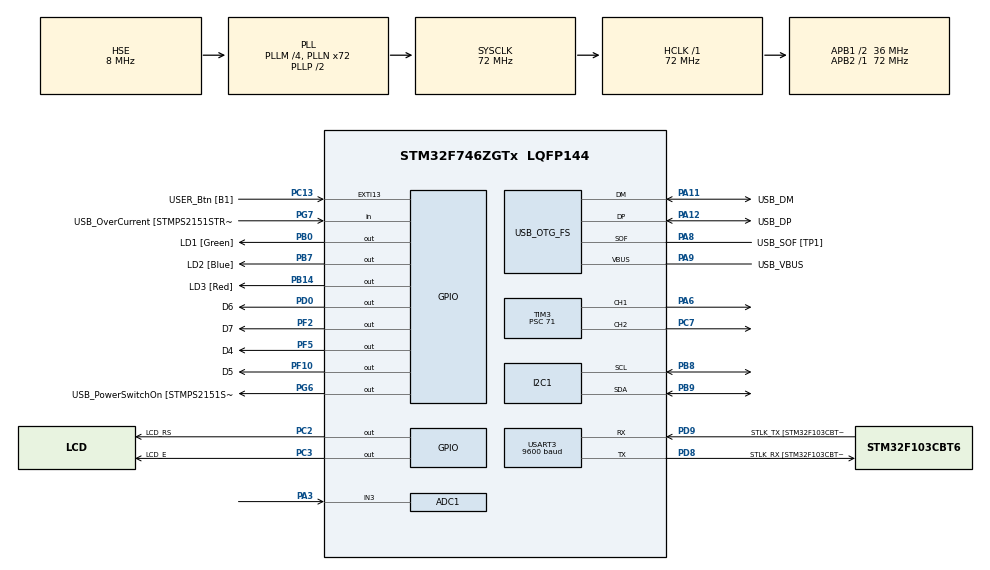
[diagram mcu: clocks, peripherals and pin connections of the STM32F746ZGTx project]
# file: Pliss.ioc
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ADC1.Channel-0\#ChannelRegularConversion=ADC_CHANNEL_3
ADC1.Channel-1\#ChannelRegularConversion=ADC_CHANNEL_3
ADC1.Channel-10\#ChannelRegularConversion=ADC_CHANNEL_3
ADC1.Channel-11\#ChannelRegularConversion=ADC_CHANNEL_3
ADC1.Channel-12\#ChannelRegularConversion=ADC_CHANNEL_3
ADC1.Channel-13\#ChannelRegularConversion=ADC_CHANNEL_3
ADC1.Channel-14\#ChannelRegularConversion=ADC_CHANNEL_3
ADC1.Channel-15\#ChannelRegularConversion=ADC_CHANNEL_3
ADC1.Channel-2\#ChannelRegularConversion=ADC_CHANNEL_3
ADC1.Channel-3\#ChannelRegularConversion=ADC_CHANNEL_3
ADC1.Channel-4\#ChannelRegularConversion=ADC_CHANNEL_3
ADC1.Channel-5\#ChannelRegularConversion=ADC_CHANNEL_3
ADC1.Channel-6\#ChannelRegularConversion=ADC_CHANNEL_3
ADC1.Channel-7\#ChannelRegularConversion=ADC_CHANNEL_3
ADC1.Channel-8\#ChannelRegularConversion=ADC_CHANNEL_3
ADC1.Channel-9\#ChannelRegularConversion=ADC_CHANNEL_3
ADC1.ContinuousConvMode=ENABLE
ADC1.NbrOfConversion=16
ADC1.NbrOfConversionFlag=1
ADC1.Rank-0\#ChannelRegularConversion=1
ADC1.Rank-1\#ChannelRegularConversion=2
ADC1.Rank-10\#ChannelRegularConversion=11
ADC1.Rank-11\#ChannelRegularConversion=12
ADC1.Rank-12\#ChannelRegularConversion=13
ADC1.Rank-13\#ChannelRegularConversion=14
ADC1.Rank-14\#ChannelRegularConversion=15
ADC1.Rank-15\#ChannelRegularConversion=16
ADC1.Rank-2\#ChannelRegularConversion=3
ADC1.Rank-3\#ChannelRegularConversion=4
ADC1.Rank-4\#ChannelRegularConversion=5
ADC1.Rank-5\#ChannelRegularConversion=6
ADC1.Rank-6\#ChannelRegularConversion=7
ADC1.Rank-7\#ChannelRegularConversion=8
ADC1.Rank-8\#ChannelRegularConversion=9
ADC1.Rank-9\#ChannelRegularConversion=10
ADC1.SamplingTime-0\#ChannelRegularConversion=ADC_SAMPLETIME_3CYCLES
ADC1.SamplingTime-1\#ChannelRegularConversion=ADC_SAMPLETIME_3CYCLES
ADC1.SamplingTime-10\#ChannelRegularConversion=ADC_SAMPLETIME_3CYCLES
ADC1.SamplingTime-11\#ChannelRegularConversion=ADC_SAMPLETIME_3CYCLES
ADC1.SamplingTime-12\#ChannelRegularConversion=ADC_SAMPLETIME_3CYCLES
ADC1.SamplingTime-13\#ChannelRegularConversion=ADC_SAMPLETIME_3CYCLES
ADC1.SamplingTime-14\#ChannelRegularConversion=ADC_SAMPLETIME_3CYCLES
ADC1.SamplingTime-15\#ChannelRegularConversion=ADC_SAMPLETIME_3CYCLES
ADC1.SamplingTime-2\#ChannelRegularConversion=ADC_SAMPLETIME_3CYCLES
ADC1.SamplingTime-3\#ChannelRegularConversion=ADC_SAMPLETIME_3CYCLES
ADC1.SamplingTime-4\#ChannelRegularConversion=ADC_SAMPLETIME_3CYCLES
ADC1.SamplingTime-5\#ChannelRegularConversion=ADC_SAMPLETIME_3CYCLES
ADC1.SamplingTime-6\#ChannelRegularConversion=ADC_SAMPLETIME_3CYCLES
ADC1.SamplingTime-7\#ChannelRegularConversion=ADC_SAMPLETIME_3CYCLES
ADC1.SamplingTime-8\#ChannelRegularConversion=ADC_SAMPLETIME_3CYCLES
ADC1.SamplingTime-9\#ChannelRegularConversion=ADC_SAMPLETIME_3CYCLES
ADC1.ScanConvMode=ADC_SCAN_ENABLE
ADC1.master=1
I2C1.Timing=0x00808CD2
Mcu.Family=STM32F7
Mcu.Name=STM32F746ZGTx
Mcu.Package=LQFP144
NVIC.ADC_IRQn=true\:0\:0\:false\:false\:true\:true\:true
NVIC.PriorityGroup=NVIC_PRIORITYGROUP_4
NVIC.TIM1_UP_TIM10_IRQn=true\:0\:0\:false\:false\:true\:true\:true
NVIC.TIM6_DAC_IRQn=true\:0\:0\:false\:false\:true\:true\:true
NVIC.USART3_IRQn=true\:0\:0\:false\:false\:true\:true\:true
PA1.GPIO_Label=RMII_REF_CLK [LAN8742A-CZ-TR_REFCLK0]
PA1.Signal=ETH_REF_CLK
PA10.GPIO_Label=USB_ID
PA10.Signal=USB_OTG_FS_ID
PA11.GPIO_Label=USB_DM
PA11.Mode=Device_Only
PA11.Signal=USB_OTG_FS_DM
PA12.GPIO_Label=USB_DP
PA12.Mode=Device_Only
PA12.Signal=USB_OTG_FS_DP
PA13.GPIO_Label=TMS
PA13.Mode=Serial_Wire
PA13.Signal=SYS_JTMS-SWDIO
PA14.GPIO_Label=TCK
PA14.Mode=Serial_Wire
PA14.Signal=SYS_JTCK-SWCLK
PA2.GPIO_Label=RMII_MDIO [LAN8742A-CZ-TR_MDIO]
PA2.Signal=ETH_MDIO
PA3.Signal=ADCx_IN3
PA6.Signal=S_TIM3_CH1
PA7.GPIO_Label=RMII_CRS_DV [LAN8742A-CZ-TR_CRS_DV]
PA7.Signal=ETH_CRS_DV
PA8.GPIO_Label=USB_SOF [TP1]
PA8.Mode=Activate_SOF_FS
PA8.Signal=USB_OTG_FS_SOF
PA9.GPIO_Label=USB_VBUS
PA9.Mode=Activate_VBUS
PA9.Signal=USB_OTG_FS_VBUS
PB0.GPIO_Label=LD1 [Green]
PB0.Signal=GPIO_Output
PB13.GPIO_Label=RMII_TXD1 [LAN8742A-CZ-TR_TXD1]
PB13.Signal=ETH_TXD1
PB14.GPIO_Label=LD3 [Red]
PB14.Signal=GPIO_Output
PB3.GPIO_Label=SW0
PB3.Signal=SYS_JTDO-SWO
PB7.GPIO_Label=LD2 [Blue]
PB7.Signal=GPIO_Output
PB8.Mode=I2C
PB8.Signal=I2C1_SCL
PB9.Mode=I2C
PB9.Signal=I2C1_SDA
PC1.GPIO_Label=RMII_MDC [LAN8742A-CZ-TR_MDC]
PC1.Signal=ETH_MDC
PC13.GPIO_Label=USER_Btn [B1]
PC13.Signal=GPXTI13
PC14/OSC32_IN.Mode=LSE-External-Oscillator
PC14/OSC32_IN.Signal=RCC_OSC32_IN
PC15/OSC32_OUT.Mode=LSE-External-Oscillator
PC15/OSC32_OUT.Signal=RCC_OSC32_OUT
PC2.GPIO_Label=LCD_RS
PC2.Signal=GPIO_Output
PC3.GPIO_Label=LCD_E
PC3.Signal=GPIO_Output
PC4.GPIO_Label=RMII_RXD0 [LAN8742A-CZ-TR_RXD0]
PC4.Signal=ETH_RXD0
PC5.GPIO_Label=RMII_RXD1 [LAN8742A-CZ-TR_RXD1]
PC5.Signal=ETH_RXD1
PC7.Signal=S_TIM3_CH2
PD0.GPIO_Label=D6
PD0.Signal=GPIO_Output
PD8.GPIO_Label=STLK_RX [STM32F103CBT6_PA3]
PD8.Mode=Asynchronous
PD8.Signal=USART3_TX
PD9.GPIO_Label=STLK_TX [STM32F103CBT6_PA2]
PD9.Mode=Asynchronous
PD9.Signal=USART3_RX
PF10.GPIO_Label=D5
PF10.Signal=GPIO_Output
PF2.GPIO_Label=D7
PF2.Signal=GPIO_Output
PF5.GPIO_Label=D4
PF5.Signal=GPIO_Output
PG11.GPIO_Label=RMII_TX_EN [LAN8742A-CZ-TR_TXEN]
PG11.Signal=ETH_TX_EN
PG13.GPIO_Label=RMII_TXD0 [LAN8742A-CZ-TR_TXD0]
PG13.Signal=ETH_TXD0
PG6.GPIO_Label=USB_PowerSwitchOn [STMPS2151STR_EN]
PG6.Signal=GPIO_Output
PG7.GPIO_Label=USB_OverCurrent [STMPS2151STR_FAULT]
PG7.Signal=GPIO_Input
PH0/OSC_IN.GPIO_Label=MCO [STM32F103CBT6_PA8]
PH0/OSC_IN.Mode=HSE-External-Clock-Source
PH0/OSC_IN.Signal=RCC_OSC_IN
PH1/OSC_OUT.Mode=HSE-External-Clock-Source
PH1/OSC_OUT.Signal=RCC_OSC_OUT
ProjectManager.HeapSize=0x200
ProjectManager.StackSize=0x400
ProjectManager.TargetToolchain=STM32CubeIDE
RCC.48MHZClocksFreq_Value=24000000
RCC.AHBFreq_Value=72000000
RCC.APB1CLKDivider=RCC_HCLK_DIV2
RCC.APB1Freq_Value=36000000
RCC.APB1TimFreq_Value=72000000
RCC.APB2Freq_Value=72000000
RCC.APB2TimFreq_Value=72000000
RCC.CortexFreq_Value=72000000
RCC.HCLKFreq_Value=72000000
RCC.HSE_VALUE=8000000
RCC.HSI_VALUE=16000000
RCC.PLLM=4
RCC.PLLMUL=RCC_PLL_MUL9
RCC.PLLN=72
RCC.PLLQ=3
RCC.PRESCALERUSB=RCC_USBCLKSOURCE_PLL_DIV1_5
RCC.SYSCLKFreq_VALUE=72000000
RCC.SYSCLKSource=RCC_SYSCLKSOURCE_PLLCLK
RCC.SYSCLKSourceVirtual=RCC_SYSCLKSOURCE_PLLCLK
RCC.USBFreq_Value=48000000
RCC.VCOOutputFreq_Value=144000000
SH.ADCx_IN3.0=ADC1_IN3,IN3
SH.S_TIM3_CH1.0=TIM3_CH1,PWM Generation1 CH1
SH.S_TIM3_CH2.0=TIM3_CH2,PWM Generation2 CH2
TIM10.Period=19999
TIM10.Prescaler=7199
TIM3.Channel-PWM\ Generation1\ CH1=TIM_CHANNEL_1
TIM3.Channel-PWM\ Generation2\ CH2=TIM_CHANNEL_2
TIM3.Period=999
TIM3.Prescaler=71
TIM3.Pulse-PWM\ Generation1\ CH1=0
TIM6.Period=9999
TIM6.Prescaler=3599
TIM7.Prescaler=109
USART3.BaudRate=9600
USART3.VirtualMode-Asynchronous=VM_ASYNC
USB_OTG_FS.VirtualMode=Device_Only
VP_TIM10_VS_ClockSourceINT.Mode=Enable_Timer
VP_TIM3_VS_ClockSourceINT.Mode=Internal
VP_TIM6_VS_ClockSourceINT.Mode=Enable_Timer
VP_TIM7_VS_ClockSourceINT.Mode=Enable_Timer
board=NUCLEO-F746ZG

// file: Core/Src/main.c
/* USER CODE BEGIN Header */
/**
  ******************************************************************************
  * @file           : main.c
  * @brief          : Main program body
  ******************************************************************************
  * @attention
  *
  * <h2><center>&copy; Copyright (c) 2021 STMicroelectronics.
  * All rights reserved.</center></h2>
  *
  * This software component is licensed by ST under BSD 3-Clause license,
  * the "License"; You may not use this file except in compliance with the
  * License. You may obtain a copy of the License at:
  *                        opensource.org/licenses/BSD-3-Clause
  *
  ******************************************************************************
  */
/* USER CODE END Header */
#include "main.h"
#include "adc.h"
#include "i2c.h"
#include "tim.h"
#include "usart.h"
#include "usb_otg.h"
#include "gpio.h"

/* USER CODE BEGIN Includes */
#include "stdio.h"
#include "bh1750_config.h"
#include "PID.h"
#include "lcd_config.h"
#include <stdlib.h>
/* USER CODE END Includes */

void SystemClock_Config(void);

/* USER CODE BEGIN 0 */
//Sp5Kp2Kd0Ki0.5Z0 komenda UART

int value_PV;
int value_SP=10;
int value_U;
pid_str*PID;
float kp_init=4.38127169718089; //1.5
float ki_init=0.355762323613465; //0.5
float kd_init=0;
float zak=0;
float elo=0;
int anti_windup_limit_init=20;
int PWM=0;

//UART
#define LINE_MAX_LENGTH	80
static char line_buffer[LINE_MAX_LENGTH + 1];
char tablica[6]="STOP\0";
static uint32_t line_length;
uint8_t value;
int rand2;
uint32_t adc,adc2;

int __io_putchar(int ch)
{
	if(ch=='\n')
	{
		int ch2='\r';
		HAL_UART_Transmit(&huart3, (uint8_t*)&ch2, 1, HAL_MAX_DELAY);

	}
	HAL_UART_Transmit(&huart3, (uint8_t*)&ch, 1, HAL_MAX_DELAY);
	return ch;
}
int a=5;
int c=10;
int m=89;
int los=0;
float x=0;
float losowa()
{

	    los=(a*los+c)%m;
	    x=(float)los/(float)m-0.5;
	    x=abs(x*400);

	    return x;
}
void HAL_ADC_ConvCpltCallback(ADC_HandleTypeDef *hadc)
{
	if(hadc==&hadc1)
	{
		adc=HAL_ADC_GetValue(&hadc1);
		if(abs(adc-adc2)>50)
		{

			value_SP=70*adc/4096;
			adc2=adc;
		}

	}

}

//PID
int j=0;
void HAL_TIM_PeriodElapsedCallback(TIM_HandleTypeDef *htim)
{
  if (htim == &htim6)
  {

	 //PV
	 value_PV=BH1750_ReadLux(&hbh1750_1);

	 value_U=pid_calculate(PID, value_SP, value_PV);
	 PWM=__HAL_TIM_GET_COMPARE(&htim3,TIM_CHANNEL_1);
	 PWM=PWM+value_U;
	 if(PWM<0)
	 {
		 PWM=0;
	 }
	 else if(PWM>1000)
	 {
		 PWM=1000;
	 }
	 printf("PV%dSP%dCV%d\n",value_PV,value_SP,PWM);
	 __HAL_TIM_SET_COMPARE(&htim3, TIM_CHANNEL_1, PWM);
	 HAL_GPIO_TogglePin(LD3_GPIO_Port, LD3_Pin);

	 float uchyb=((float)value_SP-(float)value_PV)/(float)value_SP*100;
	 LCD_SetCursor(&hlcd1, 0, 0);
	 LCD_printf(&hlcd1, "PWM: %d",PWM);
	 LCD_SetCursor(&hlcd1, 1, 0);
	 LCD_printf(&hlcd1, "Uchyb: %.2f",uchyb);

	  }

  if (htim == &htim10)
  {
	  if(zak==1)
	  {
	  rand2=losowa();
	  __HAL_TIM_SET_COMPARE(&htim3, TIM_CHANNEL_2, rand2);
	  j=1;
	  }
	  else if(zak==0&&j==1)
	  {
		__HAL_TIM_SET_COMPARE(&htim3, TIM_CHANNEL_2, 0);
		j=0;
	  }

  }
}
void HAL_UART_RxCpltCallback(UART_HandleTypeDef *huart)
{
	if(huart->Instance==USART3)
	{
		if (value == '\r' || value == '\n')
			{

				if (line_length > 0)
				{

					line_buffer[line_length] = '\0';
					sscanf(line_buffer,"Sp%dKp%fKd%fKi%fZ%f",&value_SP,&kp_init,&kd_init,&ki_init,&zak);
					pid_reset(&PID);
					pid_init(PID,kp_init,ki_init,kd_init,anti_windup_limit_init);
					/*PWM=0;
					__HAL_TIM_SET_COMPARE(&htim3, TIM_CHANNEL_1, PWM);*/

					line_length = 0;
				}
			}
			else
			{
				if (line_length >= LINE_MAX_LENGTH)
				{
					// za dużo danych, usuwamy wszystko co odebraliśmy dotychczas
					line_length = 0;
				}
				// dopisujemy wartość do bufora
				line_buffer[line_length++] = value;
			}
	}
	  HAL_UART_Receive_IT(&huart3, &value,1);
}
/* USER CODE END 0 */

int main(void)
{

  /* MCU Configuration--------------------------------------------------------*/

  /* Reset of all peripherals, Initializes the Flash interface and the Systick. */
  HAL_Init();

  /* Configure the system clock */
  SystemClock_Config();

  /* Initialize all configured peripherals */
  MX_GPIO_Init();
  MX_USART3_UART_Init();
  MX_USB_OTG_FS_PCD_Init();
  MX_I2C1_Init();
  MX_TIM3_Init();
  MX_TIM6_Init();
  MX_ADC1_Init();
  MX_TIM7_Init();
  MX_TIM10_Init();
  /* USER CODE BEGIN 2 */
  BH1750_Init(&hbh1750_1);
  HAL_TIM_Base_Start_IT(&htim3);
  HAL_TIM_Base_Start_IT(&htim6);
  HAL_TIM_Base_Start_IT(&htim10);
  HAL_TIM_PWM_Start(&htim3, TIM_CHANNEL_1);
  HAL_TIM_PWM_Start(&htim3, TIM_CHANNEL_2);
  HAL_TIM_PWM_Start(&htim3, TIM_CHANNEL_3);
  HAL_UART_Receive_IT(&huart3, &value,1);
  //pid
  pid_init(PID,kp_init,ki_init,kd_init,anti_windup_limit_init);
  LCD_Init(&hlcd1);

  /* USER CODE END 2 */

  /* Infinite loop */
  while (1)
  {

    /* USER CODE BEGIN 3 */
	 HAL_ADC_Start_IT(&hadc1);

  }
  /* USER CODE END 3 */
}

void SystemClock_Config(void)
{
  RCC_OscInitTypeDef RCC_OscInitStruct = {0};
  RCC_ClkInitTypeDef RCC_ClkInitStruct = {0};
  RCC_PeriphCLKInitTypeDef PeriphClkInitStruct = {0};

  /** Configure LSE Drive Capability
  */
  HAL_PWR_EnableBkUpAccess();
  /** Configure the main internal regulator output voltage
  */
  __HAL_RCC_PWR_CLK_ENABLE();
  __HAL_PWR_VOLTAGESCALING_CONFIG(PWR_REGULATOR_VOLTAGE_SCALE3);
  /** Initializes the RCC Oscillators according to the specified parameters
  * in the RCC_OscInitTypeDef structure.
  */
  RCC_OscInitStruct.OscillatorType = RCC_OSCILLATORTYPE_HSE;
  RCC_OscInitStruct.HSEState = RCC_HSE_BYPASS;
  RCC_OscInitStruct.PLL.PLLState = RCC_PLL_ON;
  RCC_OscInitStruct.PLL.PLLSource = RCC_PLLSOURCE_HSE;
  RCC_OscInitStruct.PLL.PLLM = 4;
  RCC_OscInitStruct.PLL.PLLN = 72;
  RCC_OscInitStruct.PLL.PLLP = RCC_PLLP_DIV2;
  RCC_OscInitStruct.PLL.PLLQ = 3;
  if (HAL_RCC_OscConfig(&RCC_OscInitStruct) != HAL_OK)
  {
    Error_Handler();
  }
  /** Initializes the CPU, AHB and APB buses clocks
  */
  RCC_ClkInitStruct.ClockType = RCC_CLOCKTYPE_HCLK|RCC_CLOCKTYPE_SYSCLK
                              |RCC_CLOCKTYPE_PCLK1|RCC_CLOCKTYPE_PCLK2;
  RCC_ClkInitStruct.SYSCLKSource = RCC_SYSCLKSOURCE_PLLCLK;
  RCC_ClkInitStruct.AHBCLKDivider = RCC_SYSCLK_DIV1;
  RCC_ClkInitStruct.APB1CLKDivider = RCC_HCLK_DIV2;
  RCC_ClkInitStruct.APB2CLKDivider = RCC_HCLK_DIV1;

  if (HAL_RCC_ClockConfig(&RCC_ClkInitStruct, FLASH_LATENCY_2) != HAL_OK)
  {
    Error_Handler();
  }
  PeriphClkInitStruct.PeriphClockSelection = RCC_PERIPHCLK_USART3|RCC_PERIPHCLK_I2C1
                              |RCC_PERIPHCLK_CLK48;
  PeriphClkInitStruct.Usart3ClockSelection = RCC_USART3CLKSOURCE_PCLK1;
  PeriphClkInitStruct.I2c1ClockSelection = RCC_I2C1CLKSOURCE_PCLK1;
  PeriphClkInitStruct.Clk48ClockSelection = RCC_CLK48SOURCE_PLL;
  if (HAL_RCCEx_PeriphCLKConfig(&PeriphClkInitStruct) != HAL_OK)
  {
    Error_Handler();
  }
}

void Error_Handler(void)
{
  __disable_irq();
  while (1)
  {
  }
}

/************************ (C) COPYRIGHT STMicroelectronics *****END OF FILE****/
